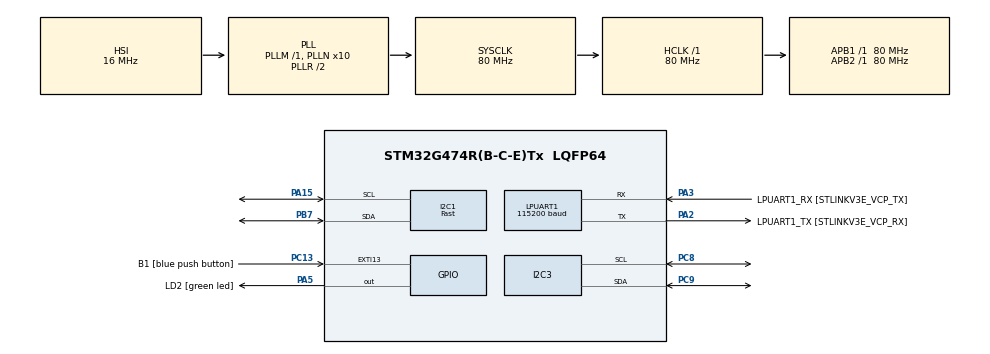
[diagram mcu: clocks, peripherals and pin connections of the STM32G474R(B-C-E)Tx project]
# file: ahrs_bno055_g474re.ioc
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I2C1.I2C_Speed_Mode=I2C_Fast
I2C1.Timing=0x00702991
I2C3.Timing=0x10909CEC
LPUART1.BaudRate=115200
LPUART1.WordLength=UART_WORDLENGTH_8B
Mcu.Family=STM32G4
Mcu.Name=STM32G474R(B-C-E)Tx
Mcu.Package=LQFP64
NVIC.EXTI15_10_IRQn=true\:0\:0\:false\:false\:true\:true\:true\:true
NVIC.PriorityGroup=NVIC_PRIORITYGROUP_4
PA13.GPIO_Label=T_SWDIO
PA13.Mode=Serial_Wire
PA13.Signal=SYS_JTMS-SWDIO
PA14.GPIO_Label=T_SWCLK
PA14.Mode=Serial_Wire
PA14.Signal=SYS_JTCK-SWCLK
PA15.Mode=I2C
PA15.Signal=I2C1_SCL
PA2.GPIO_Label=LPUART1_TX [STLINKV3E_VCP_RX]
PA2.Mode=Asynchronous
PA2.Signal=LPUART1_TX
PA3.GPIO_Label=LPUART1_RX [STLINKV3E_VCP_TX]
PA3.Mode=Asynchronous
PA3.Signal=LPUART1_RX
PA5.GPIO_Label=LD2 [green led]
PA5.Signal=GPIO_Output
PB3.GPIO_Label=T_SWO
PB3.Signal=SYS_JTDO-SWO
PB7.Mode=I2C
PB7.Signal=I2C1_SDA
PC13.GPIO_Label=B1 [blue push button]
PC13.Signal=GPXTI13
PC14-OSC32_IN.Mode=LSE-External-Oscillator
PC14-OSC32_IN.Signal=RCC_OSC32_IN
PC15-OSC32_OUT.Mode=LSE-External-Oscillator
PC15-OSC32_OUT.Signal=RCC_OSC32_OUT
PC8.Mode=I2C
PC8.Signal=I2C3_SCL
PC9.Mode=I2C
PC9.Signal=I2C3_SDA
PF0-OSC_IN.Mode=HSE-External-Oscillator
PF0-OSC_IN.Signal=RCC_OSC_IN
PF1-OSC_OUT.Mode=HSE-External-Oscillator
PF1-OSC_OUT.Signal=RCC_OSC_OUT
ProjectManager.HeapSize=0x200
ProjectManager.StackSize=0x400
ProjectManager.TargetToolchain=STM32CubeIDE
RCC.ADC12Freq_Value=80000000
RCC.ADC345Freq_Value=80000000
RCC.AHBFreq_Value=80000000
RCC.APB1Freq_Value=80000000
RCC.APB1TimFreq_Value=80000000
RCC.APB2Freq_Value=80000000
RCC.APB2TimFreq_Value=80000000
RCC.CortexFreq_Value=80000000
RCC.EXTERNAL_CLOCK_VALUE=12288000
RCC.HCLKFreq_Value=80000000
RCC.HSE_VALUE=24000000
RCC.HSI48_VALUE=48000000
RCC.HSI_VALUE=16000000
RCC.PLLN=10
RCC.RTCClockSelection=RCC_RTCCLKSOURCE_LSE
RCC.SYSCLKFreq_VALUE=80000000
RCC.SYSCLKSource=RCC_SYSCLKSOURCE_PLLCLK
RCC.USBFreq_Value=80000000
RCC.VCOOutputFreq_Value=160000000
VP_SYS_VS_DBSignals.Mode=DisableDeadBatterySignals
board=NUCLEO-G474RE

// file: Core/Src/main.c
/* USER CODE BEGIN Header */
/**
 ******************************************************************************
 * @file           : main.c
 * @brief          : Main program body
 ******************************************************************************
 * @attention
 *
 * Copyright (c) 2024 STMicroelectronics.
 * All rights reserved.
 *
 * This software is licensed under terms that can be found in the LICENSE file
 * in the root directory of this software component.
 * If no LICENSE file comes with this software, it is provided AS-IS.
 *
 ******************************************************************************
 */
/* USER CODE END Header */
#include "main.h"
#include "i2c.h"
#include "usart.h"
#include "gpio.h"

/* USER CODE BEGIN Includes */
#include <stdio.h>
#include <stdlib.h>
#include <string.h>
#include <math.h>

#include "bno055_stm32.h" // https://github.com/ivyknob/bno055_stm32
#include "ssd1306.h"
/* USER CODE END Includes */

/* USER CODE BEGIN PD */
#define OLED_REFRESH_RATE 100
#define UART_REFRESH_RATE 1000
#define BNO_I2C_HANDLE &hi2c1
#define DEBUG_UART_HANDLE &hlpuart1
/* USER CODE END PD */

/* USER CODE BEGIN PV */
char lcd_line[128];
uint32_t SoftTimerOled;
uint32_t SoftTimerUart;

bno055_vector_t bno_vector;

/* USER CODE END PV */

void SystemClock_Config(void);
/* USER CODE BEGIN PFP */

#ifdef __GNUC__
#define PUTCHAR_PROTOTYPE int __io_putchar(int ch)
#else
#define PUTCHAR_PROTOTYPE int fputc(int ch, FILE *f)
#endif

PUTCHAR_PROTOTYPE
{
	HAL_UART_Transmit(DEBUG_UART_HANDLE, (uint8_t*) &ch, 1, HAL_MAX_DELAY);
	return ch;
}

/* USER CODE END PFP */

int main(void)
{

	/* MCU Configuration--------------------------------------------------------*/

	/* Reset of all peripherals, Initializes the Flash interface and the Systick. */
	HAL_Init();

	/* Configure the system clock */
	SystemClock_Config();

	/* Initialize all configured peripherals */
	MX_GPIO_Init();
	MX_LPUART1_UART_Init();
	MX_I2C1_Init();
	MX_I2C3_Init();
	/* USER CODE BEGIN 2 */
	ssd1306_Init();
	ssd1306_Fill(Black);
	ssd1306_SetCursor(20, 0);
	ssd1306_WriteString("ufnalski.edu.pl", Font_6x8, White);
	ssd1306_SetCursor(12, 11);
	ssd1306_WriteString("BNO055 9-DoF AHRS", Font_6x8, White);
	ssd1306_SetCursor(8, 21);
	ssd1306_WriteString("Library by Ivy Knob", Font_6x8, White);
	ssd1306_UpdateScreen();

	bno055_assignI2C(BNO_I2C_HANDLE);
	bno055_setup();
	bno055_setOperationModeNDOF();

	SoftTimerOled = HAL_GetTick();
	SoftTimerUart = HAL_GetTick();
	/* USER CODE END 2 */

	/* Infinite loop */
	/* USER CODE BEGIN WHILE */
	while (1)
	{
		if (HAL_GetTick() - SoftTimerOled > OLED_REFRESH_RATE)
		{
			SoftTimerOled = HAL_GetTick();

			bno_vector = bno055_getVectorEuler();

			ssd1306_SetCursor(5, 35);
			sprintf(lcd_line, "Heading: %7.2f deg  ", bno_vector.x);
			ssd1306_WriteString(lcd_line, Font_6x8, White);

			ssd1306_SetCursor(5, 45);
			sprintf(lcd_line, "Roll   : %7.2f deg  ", bno_vector.y);
			ssd1306_WriteString(lcd_line, Font_6x8, White);

			ssd1306_SetCursor(5, 55);
			sprintf(lcd_line, "Pitch  : %7.2f deg  ", bno_vector.z);
			ssd1306_WriteString(lcd_line, Font_6x8, White);
			ssd1306_UpdateScreen();

			if (HAL_GetTick() - SoftTimerUart > UART_REFRESH_RATE)
			{
				SoftTimerUart = HAL_GetTick();
				printf("Heading: %.2f Roll: %.2f Pitch: %.2f\r\n", bno_vector.x,
						bno_vector.y, bno_vector.z);
				bno_vector = bno055_getVectorQuaternion();
				printf("W: %.2f X: %.2f Y: %.2f Z: %.2f\r\n", bno_vector.w,
						bno_vector.x, bno_vector.y, bno_vector.z);
			}
		}
		/* USER CODE END WHILE */

	}
}

void SystemClock_Config(void)
{
	RCC_OscInitTypeDef RCC_OscInitStruct =
	{ 0 };
	RCC_ClkInitTypeDef RCC_ClkInitStruct =
	{ 0 };

	/** Configure the main internal regulator output voltage
	 */
	HAL_PWREx_ControlVoltageScaling(PWR_REGULATOR_VOLTAGE_SCALE1);

	/** Initializes the RCC Oscillators according to the specified parameters
	 * in the RCC_OscInitTypeDef structure.
	 */
	RCC_OscInitStruct.OscillatorType = RCC_OSCILLATORTYPE_HSI;
	RCC_OscInitStruct.HSIState = RCC_HSI_ON;
	RCC_OscInitStruct.HSICalibrationValue = RCC_HSICALIBRATION_DEFAULT;
	RCC_OscInitStruct.PLL.PLLState = RCC_PLL_ON;
	RCC_OscInitStruct.PLL.PLLSource = RCC_PLLSOURCE_HSI;
	RCC_OscInitStruct.PLL.PLLM = RCC_PLLM_DIV1;
	RCC_OscInitStruct.PLL.PLLN = 10;
	RCC_OscInitStruct.PLL.PLLP = RCC_PLLP_DIV2;
	RCC_OscInitStruct.PLL.PLLQ = RCC_PLLQ_DIV2;
	RCC_OscInitStruct.PLL.PLLR = RCC_PLLR_DIV2;
	if (HAL_RCC_OscConfig(&RCC_OscInitStruct) != HAL_OK)
	{
		Error_Handler();
	}

	/** Initializes the CPU, AHB and APB buses clocks
	 */
	RCC_ClkInitStruct.ClockType = RCC_CLOCKTYPE_HCLK | RCC_CLOCKTYPE_SYSCLK
			| RCC_CLOCKTYPE_PCLK1 | RCC_CLOCKTYPE_PCLK2;
	RCC_ClkInitStruct.SYSCLKSource = RCC_SYSCLKSOURCE_PLLCLK;
	RCC_ClkInitStruct.AHBCLKDivider = RCC_SYSCLK_DIV1;
	RCC_ClkInitStruct.APB1CLKDivider = RCC_HCLK_DIV1;
	RCC_ClkInitStruct.APB2CLKDivider = RCC_HCLK_DIV1;

	if (HAL_RCC_ClockConfig(&RCC_ClkInitStruct, FLASH_LATENCY_2) != HAL_OK)
	{
		Error_Handler();
	}
}

void Error_Handler(void)
{
	__disable_irq();
	while (1)
	{
	}
}
